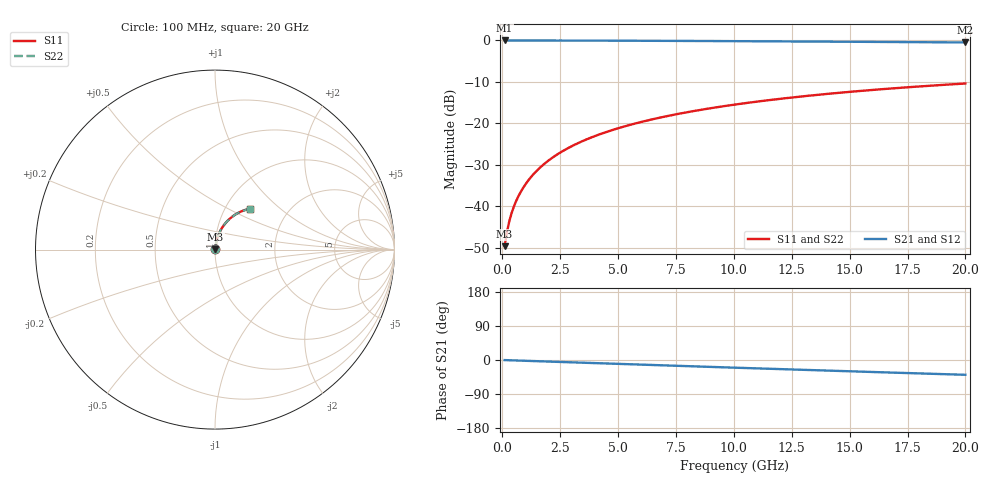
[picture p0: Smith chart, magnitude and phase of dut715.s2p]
! Touchstone file exported from HFSS 2026.1.0
!  File:  C:/ffzhzh/LocalFiles/Ansys_Project_Files/temp_train_TMRDL_715_1783154679_51560.aedt
!  Generated:  04:45:48 PM Jul  4, 2026
!  Design:  TMRDL
!  Project:  temp_train_TMRDL_715_1783154679_51560
! Variables:
!  h_bsmrdl = 2um
!  h_ox = 20um
!  h_rdl = 5um
!  h_sub = 80um
!  h_tmrdl = 3.16um
!  h_tsv = 80um
!  h_via = 3um
!  l_bsmrdl = 300um
!  l_sub = 989.63um
!  l_tmrdl = 589.63um
!  m_sub = 200um
!  pitch = 50.52um
!  r_tsv = 6um
!  s_tmrdl = 10um
!  w_bsmrdl = 18um
!  w_sub = 500um
!  w_tmrdl = 28.96um
!  x_tsv_center1 = 604.11um
!  x_tsv_center2 = 922.11um
!  x_tsv_center3 = 1540.7um
!  x_tsv_center4 = 1858.7um
!  x_tsv_center5 = 2477.29um
!  x_tsv_center6 = 2795.29um
# GHz S MA R 50.000000
! Terminal data exported
! Port[1] = TM_RDL1_1_T1
! Port[2] = TM_RDL1_1_T2
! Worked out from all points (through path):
!   200 points, 100 MHz to 20 GHz, reference 50 ohm
!   highest |S21| = -0.02 dB at 100 MHz (marker M1); lowest = -0.5 dB at 20 GHz (marker M2)
!   group delay of S21, straight-line fit = 5.43 ps
!   lowest |S11| = -49.7 dB at 100 MHz (marker M3), VSWR 1.01, Z = 50.3 + j0.205 ohm
!   |S11| at or under -10 dB: start of sweep to end of sweep
!   |S22| runs from -49.7 to -10.4 dB; largest |S21 - S12| = 2.2e-15
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0.1  0.003282 38.3  0.9974 -0.2  0.9974 -0.2  0.003282 38.3
! Gamma 0 0 0 0
! Port Impedance 50 0 50 0
0.2  0.004844 55.0  0.9972 -0.4  0.9972 -0.4  0.004844 55.0
0.3  0.006522 62.6  0.997 -0.6  0.997 -0.6  0.006522 62.6
0.4  0.008196 66.9  0.9969 -0.9  0.9969 -0.9  0.008196 66.9
0.5  0.009863 69.9  0.9967 -1.1  0.9967 -1.1  0.009863 69.9
0.6  0.01153 72.1  0.9966 -1.3  0.9966 -1.3  0.01153 72.1
0.8  0.0149 75.0  0.9965 -1.7  0.9965 -1.7  0.0149 75.0
1.1  0.02001 77.5  0.9963 -2.3  0.9963 -2.3  0.02001 77.5
1.3  0.02344 78.5  0.9962 -2.7  0.9962 -2.7  0.02344 78.5
1.6  0.02862 79.3  0.9959 -3.3  0.9959 -3.3  0.02862 79.3
2.1  0.03728 79.8  0.9955 -4.3  0.9955 -4.3  0.03728 79.8
2.7  0.04766 79.6  0.9949 -5.6  0.9949 -5.6  0.04766 79.6
3.5  0.06144 78.8  0.9938 -7.2  0.9938 -7.2  0.06144 78.8
4.2  0.0734 77.8  0.9927 -8.6  0.9927 -8.6  0.0734 77.8
5  0.08693 76.5  0.9913 -10.2  0.9913 -10.2  0.08693 76.5
5.9  0.1019 74.9  0.9894 -12.1  0.9894 -12.1  0.1019 74.9
6.8  0.1167 73.3  0.9874 -13.9  0.9874 -13.9  0.1167 73.3
8.3  0.1408 70.5  0.9835 -16.8  0.9835 -16.8  0.1408 70.5
10.1  0.1688 67.2  0.9784 -20.4  0.9784 -20.4  0.1687 67.1
13.4  0.2171 61.0  0.9677 -26.8  0.9677 -26.8  0.2171 61.0
16.7  0.2614 55.0  0.9559 -33.0  0.9559 -33.0  0.2614 55.0
20  0.3015 49.1  0.9436 -39.1  0.9436 -39.1  0.3015 49.1
